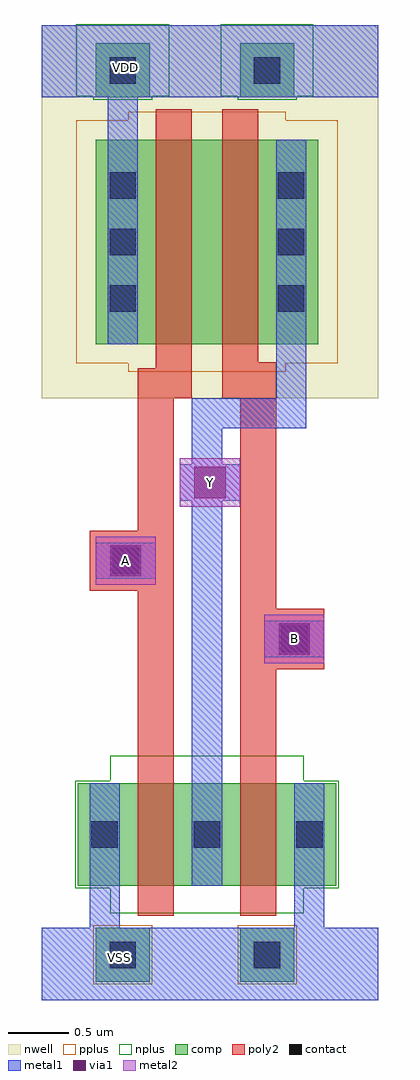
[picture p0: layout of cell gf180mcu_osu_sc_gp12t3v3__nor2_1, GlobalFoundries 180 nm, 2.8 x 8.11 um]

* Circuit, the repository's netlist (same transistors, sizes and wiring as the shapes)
* Copyright 2022 Google LLC
*
* Licensed under the Apache License, Version 2.0 (the "License");
* you may not use this file except in compliance with the License.
* You may obtain a copy of the License at
*
*      http://www.apache.org/licenses/LICENSE-2.0
*
* Unless required by applicable law or agreed to in writing, software
* distributed under the License is distributed on an "AS IS" BASIS,
* WITHOUT WARRANTIES OR CONDITIONS OF ANY KIND, either express or implied.
* See the License for the specific language governing permissions and
* limitations under the License.

.inc "/import/yukari1/lrburle/OSU_180/char/techfiles/design.hspice"
.lib "/import/yukari1/lrburle/OSU_180/char/techfiles/sm141064.hspice" typical

.GLOBAL VDD
.GLOBAL VSS

.option scale=0.05u

.subckt gf180mcu_osu_sc_gp12t3v3__nor2_1 A Y B
X0 Y B a_25_109 VDD pmos_3p3 w=34 l=6
X1 a_25_109 A VDD VDD pmos_3p3 w=34 l=6
X2 Y A VSS VSS nmos_3p3 w=17 l=6
X3 VSS B Y VSS nmos_3p3 w=17 l=6
.ends

** hspice subcircuit dictionary

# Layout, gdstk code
import gdstk
lib = gdstk.Library(unit=1e-6, precision=1e-09)
def R(c, l, rs):  # rectangles x0, y0, x1, y1
    for r in rs: c.add(gdstk.rectangle(r[:2], r[2:], *l))
def A(c, l, x, y, w, h, nx, ny, dx, dy):  # array of equal rectangles
    R(c, l, [(x+i*dx, y+j*dy, x+i*dx+w, y+j*dy+h) for i in range(nx) for j in range(ny)])
nwell = (21, 0)
comp = (22, 0)
poly2 = (30, 0)
pplus = (31, 0)
nplus = (32, 0)
contact = (33, 0)
metal1 = (34, 0)
via1 = (35, 0)
metal2 = (36, 0)

gf180mcu_osu_sc_gp12t3v3 = lib.new_cell('gf180mcu_osu_sc_gp12t3v3__nor2_1')
R(gf180mcu_osu_sc_gp12t3v3, nwell, [(0,5,2.8,8.1)])
R(gf180mcu_osu_sc_gp12t3v3, comp, [(0.45,0.15,0.9,0.6), (1.65,0.15,2.1,0.6), (0.3,0.95,2.45,1.8), (0.45,5.45,2.3,7.15), (0.45,7.5,0.9,7.95), (1.65,7.5,2.1,7.95)])
R(gf180mcu_osu_sc_gp12t3v3, poly2, [(0.8,0.7,1.1,3.4), (1.65,0.7,1.95,2.75), (1.65,2.75,2.35,3.25), (1.65,3.25,1.95,5), (0.4,3.4,1.1,3.9), (0.8,3.9,1.1,5), (0.8,5,1.25,5.25), (1.5,5,1.95,5.3), (0.95,5.25,1.25,7.4), (1.5,5.3,1.8,7.4)])
R(gf180mcu_osu_sc_gp12t3v3, pplus, [(0.43,0.13,0.92,0.62), (1.63,0.13,2.12,0.62), (0.72,5.22,2.03,5.29), (0.29,5.29,2.46,7.31), (0.72,7.31,2.03,7.38)])
R(gf180mcu_osu_sc_gp12t3v3, nplus, [(0.57,0.72,2.18,0.93), (0.28,0.93,2.47,1.82), (0.57,1.82,2.18,2.03), (0.43,7.48,0.92,7.51), (1.63,7.48,2.12,7.51), (0.29,7.51,1.06,8.11), (1.49,7.51,2.26,8.11)])
A(gf180mcu_osu_sc_gp12t3v3, contact, 0.415, 1.265, 0.22, 0.22, 3, 1, 0.85, 0)
A(gf180mcu_osu_sc_gp12t3v3, contact, 0.565, 5.72, 0.22, 0.22, 1, 3, 0, 0.47)
A(gf180mcu_osu_sc_gp12t3v3, contact, 1.965, 5.72, 0.22, 0.22, 1, 3, 0, 0.47)
R(gf180mcu_osu_sc_gp12t3v3, contact, [(0.565,0.265,0.785,0.485), (1.765,0.265,1.985,0.485), (1.99,2.89,2.21,3.11), (0.59,3.54,0.81,3.76), (0.565,7.615,0.785,7.835), (1.765,7.615,1.985,7.835)])
R(gf180mcu_osu_sc_gp12t3v3, metal1, [(0,0,2.8,0.6), (0.4,0.6,0.65,1.8), (2.1,0.6,2.35,1.8), (1.25,0.95,1.5,4.15), (1.85,2.85,2.35,3.15), (0.45,3.5,0.95,3.8), (1.15,4.15,1.65,4.45), (1.25,4.45,1.5,4.75), (1.25,4.75,2.2,5), (1.95,5,2.2,7.15), (0.55,5.45,0.8,7.5), (0,7.5,2.8,8.1)])
R(gf180mcu_osu_sc_gp12t3v3, via1, [(1.97,2.87,2.23,3.13), (0.57,3.52,0.83,3.78), (1.27,4.17,1.53,4.43)])
R(gf180mcu_osu_sc_gp12t3v3, metal2, [(1.85,2.8,2.35,3.2), (0.45,3.45,0.95,3.85), (1.15,4.1,1.65,4.5)])
gf180mcu_osu_sc_gp12t3v3.add(gdstk.Label('VDD', (0.7,7.75), layer=34, texttype=0))
gf180mcu_osu_sc_gp12t3v3.add(gdstk.Label('VSS', (0.65,0.35), layer=34, texttype=0))
gf180mcu_osu_sc_gp12t3v3.add(gdstk.Label('A', (0.7,3.65), layer=36, texttype=10))
gf180mcu_osu_sc_gp12t3v3.add(gdstk.Label('Y', (1.4,4.3), layer=36, texttype=10))
gf180mcu_osu_sc_gp12t3v3.add(gdstk.Label('B', (2.1,3), layer=36, texttype=10))

lib.write_gds('gf180mcu_osu_sc_gp12t3v3__nor2_1.gds')
